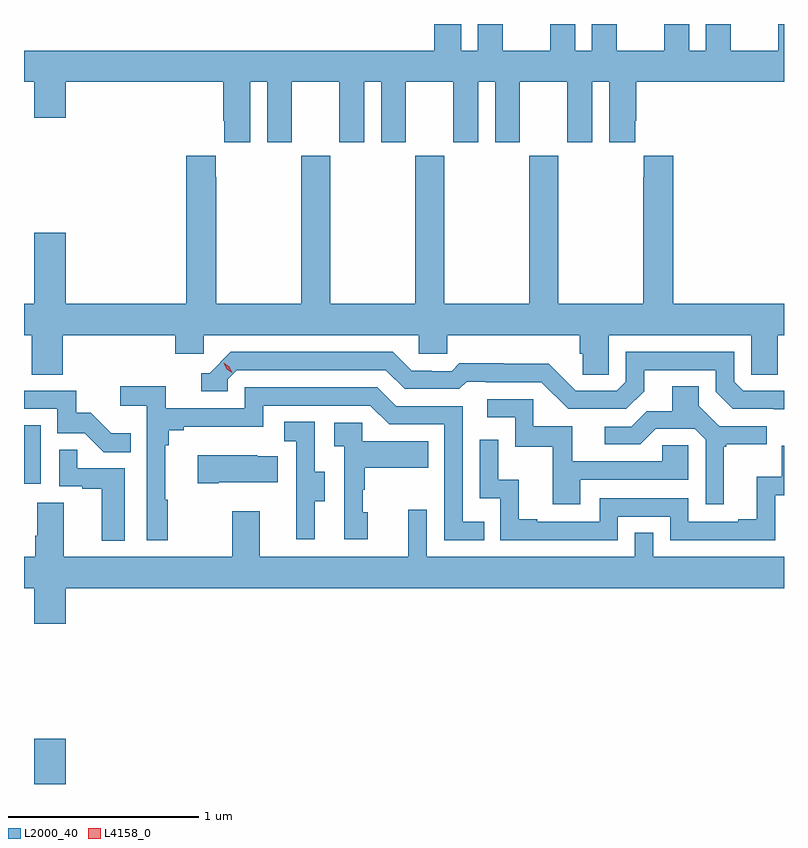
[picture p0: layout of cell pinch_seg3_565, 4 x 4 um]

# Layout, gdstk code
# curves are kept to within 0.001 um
import gdstk
lib = gdstk.Library(unit=1e-6, precision=1e-09)
def R(c, l, rs):  # rectangles x0, y0, x1, y1
    for r in rs: c.add(gdstk.rectangle(r[:2], r[2:], *l))
def P(c, l, *ps):  # polygons
    for p in ps: c.add(gdstk.Polygon(p, *l))
L2000_40 = (2000, 40)
L4158_0 = (4158, 0)

pinch_seg3_565 = lib.new_cell('pinch_seg3_565')
R(pinch_seg3_565, L2000_40, [(1142.03,703.881,1142.194,704.119), (1141.975,705.462,1142.062,705.769)])
P(pinch_seg3_565, L2000_40, [(1143.166,707.576),(1143.254,707.576),(1143.254,707.259),(1143.385,707.259),(1143.385,707.576),(1143.635,707.576),(1143.635,707.259),(1143.766,707.259),(1143.766,707.576),(1143.854,707.576),(1143.854,707.259),(1143.985,707.259),(1143.985,707.576),(1144.235,707.576),(1144.235,707.259),(1144.366,707.259),(1144.366,707.576),(1144.454,707.576),(1144.454,707.259),(1144.585,707.259),(1144.585,707.576),(1144.835,707.576),(1144.835,707.259),(1144.966,707.259),(1144.966,707.576),(1145.054,707.576),(1145.054,707.259),(1145.191,707.259),(1145.191,707.371),(1145.198,707.371),(1145.198,707.576),(1145.975,707.576),(1145.975,707.881),(1145.945,707.881),(1145.945,707.74),(1145.695,707.74),(1145.695,707.881),(1145.564,707.881),(1145.564,707.74),(1145.476,707.74),(1145.476,707.881),(1145.345,707.881),(1145.345,707.74),(1145.095,707.74),(1145.095,707.881),(1144.964,707.881),(1144.964,707.74),(1144.876,707.74),(1144.876,707.881),(1144.745,707.881),(1144.745,707.74),(1144.495,707.74),(1144.495,707.881),(1144.364,707.881),(1144.364,707.74),(1144.276,707.74),(1144.276,707.881),(1144.133,707.881),(1144.133,707.74),(1141.975,707.74),(1141.975,707.576),(1142.03,707.576),(1142.03,707.388),(1142.194,707.388),(1142.194,707.576),(1143.023,707.576),(1143.023,707.371),(1143.029,707.371),(1143.029,707.259),(1143.166,707.259)],
  [(1142.18,706.244),(1142.771,706.244),(1142.771,706.146),(1142.922,706.146),(1142.922,706.244),(1144.053,706.244),(1144.053,706.146),(1144.203,706.146),(1144.203,706.244),(1144.901,706.244),(1144.901,706.146),(1144.915,706.146),(1144.915,706.036),(1145.052,706.036),(1145.052,706.244),(1145.802,706.244),(1145.802,706.036),(1145.941,706.036),(1145.941,706.244),(1145.975,706.244),(1145.975,706.408),(1145.393,706.408),(1145.393,707.188),(1145.237,707.188),(1145.237,707.075),(1145.233,707.075),(1145.233,706.408),(1144.788,706.408),(1144.788,707.188),(1144.633,707.188),(1144.633,706.408),(1144.188,706.408),(1144.188,707.188),(1144.033,707.188),(1144.033,706.408),(1143.588,706.408),(1143.588,707.188),(1143.433,707.188),(1143.433,706.408),(1142.988,706.408),(1142.988,707.075),(1142.983,707.075),(1142.983,707.188),(1142.828,707.188),(1142.828,706.408),(1142.194,706.408),(1142.194,706.783),(1142.03,706.783),(1142.03,706.408),(1141.975,706.408),(1141.975,706.244),(1142.015,706.244),(1142.015,706.036),(1142.18,706.036)],
  [(1145.975,705.951),(1145.76,705.951),(1145.712,705.999),(1145.712,706.155),(1145.142,706.155),(1145.142,705.999),(1145.094,705.951),(1144.878,705.951),(1144.736,706.093),(1144.5,706.093),(1144.5,706.096),(1144.267,706.096),(1144.225,706.053),(1144.122,706.053),(1144.122,706.056),(1144.015,706.056),(1143.916,706.155),(1143.063,706.155),(1142.952,706.044),(1142.909,706.044),(1142.909,705.948),(1143.048,705.948),(1143.048,706.011),(1143.096,706.059),(1143.879,706.059),(1143.978,705.96),(1144.267,705.96),(1144.306,705.999),(1144.405,705.999),(1144.405,705.996),(1144.698,705.996),(1144.839,705.855),(1145.145,705.855),(1145.239,705.949),(1145.239,706.059),(1145.616,706.059),(1145.616,705.945),(1145.706,705.855),(1145.975,705.854)],
  [(1142.731,705.377),(1142.719,705.377),(1142.719,705.665),(1142.738,705.665),(1142.738,705.742),(1142.815,705.742),(1142.815,705.761),(1143.234,705.761),(1143.234,705.873),(1143.798,705.873),(1143.897,705.774),(1144.188,705.774),(1144.188,705.165),(1144.397,705.165),(1144.397,705.261),(1144.284,705.261),(1144.284,705.87),(1143.934,705.87),(1143.835,705.969),(1143.138,705.969),(1143.138,705.858),(1142.72,705.858),(1142.72,705.974),(1142.481,705.974),(1142.481,705.872),(1142.622,705.872),(1142.622,705.165),(1142.731,705.165)],
  [(1145.659,705.657),(1145.671,705.657),(1145.671,705.668),(1145.884,705.668),(1145.884,705.765),(1145.634,705.765),(1145.527,705.872),(1145.527,705.974),(1145.387,705.974),(1145.387,705.842),(1145.252,705.842),(1145.172,705.762),(1145.031,705.762),(1145.031,705.669),(1145.218,705.669),(1145.299,705.75),(1145.505,705.75),(1145.562,705.693),(1145.562,705.354),(1145.659,705.354)],
  [(1142.537,705.727),(1142.433,705.727),(1142.326,705.834),(1142.25,705.834),(1142.25,705.951),(1141.975,705.951),(1141.975,705.855),(1142.151,705.855),(1142.151,705.726),(1142.296,705.726),(1142.394,705.628),(1142.537,705.628)],
  [(1144.903,705.483),(1145.472,705.483),(1145.472,705.663),(1145.335,705.663),(1145.335,705.579),(1144.861,705.579),(1144.861,705.765),(1144.656,705.765),(1144.656,705.906),(1144.413,705.906),(1144.413,705.81),(1144.56,705.81),(1144.56,705.657),(1144.759,705.657),(1144.759,705.354),(1144.903,705.354)],
  [(1143.505,705.37),(1143.559,705.37),(1143.559,705.525),(1143.504,705.525),(1143.504,705.788),(1143.345,705.788),(1143.345,705.685),(1143.408,705.685),(1143.408,705.381),(1143.407,705.381),(1143.407,705.168),(1143.505,705.168)],
  [(1143.784,705.312),(1143.759,705.312),(1143.759,705.431),(1143.769,705.431),(1143.769,705.545),(1144.103,705.545),(1144.103,705.685),(1143.756,705.685),(1143.756,705.783),(1143.609,705.783),(1143.609,705.659),(1143.66,705.659),(1143.66,705.168),(1143.784,705.168)],
  [(1145.1,705.288),(1145.376,705.288),(1145.376,705.165),(1145.928,705.165),(1145.928,705.401),(1145.975,705.401),(1145.975,705.66),(1145.964,705.66),(1145.964,705.499),(1145.831,705.499),(1145.831,705.274),(1145.735,705.274),(1145.735,705.261),(1145.472,705.261),(1145.472,705.384),(1145.004,705.384),(1145.004,705.261),(1144.675,705.261),(1144.675,705.274),(1144.58,705.274),(1144.58,705.482),(1144.47,705.482),(1144.47,705.694),(1144.374,705.694),(1144.374,705.384),(1144.482,705.384),(1144.482,705.165),(1145.1,705.165)],
  [(1142.506,705.543),(1142.255,705.543),(1142.255,705.641),(1142.16,705.641),(1142.16,705.447),(1142.281,705.447),(1142.281,705.435),(1142.384,705.435),(1142.384,705.161),(1142.506,705.161)],
  [(1143.001,705.47),(1143.311,705.47),(1143.311,705.607),(1143.203,705.607),(1143.203,705.61),(1142.889,705.61),(1142.889,705.463),(1143.001,705.463)],
  [(1142.194,704.912),(1145.975,704.912),(1145.975,705.076),(1145.286,705.076),(1145.286,705.203),(1145.19,705.203),(1145.19,705.076),(1144.095,705.076),(1144.095,705.325),(1143.998,705.325),(1143.998,705.076),(1143.217,705.076),(1143.217,705.316),(1143.07,705.316),(1143.07,705.076),(1142.185,705.076),(1142.185,705.362),(1142.045,705.362),(1142.045,705.188),(1142.033,705.188),(1142.033,705.076),(1141.975,705.076),(1141.975,704.912),(1142.03,704.912),(1142.03,704.724),(1142.194,704.724)])
P(pinch_seg3_565, L4158_0, [(1143.072,706.046),(1143.041,706.064),(1143.025,706.096),(1143.025,706.097),(1143.025,706.097),(1143.056,706.078),(1143.072,706.046),(1143.072,706.046)])

lib.write_gds('pinch_seg3_565.gds')
